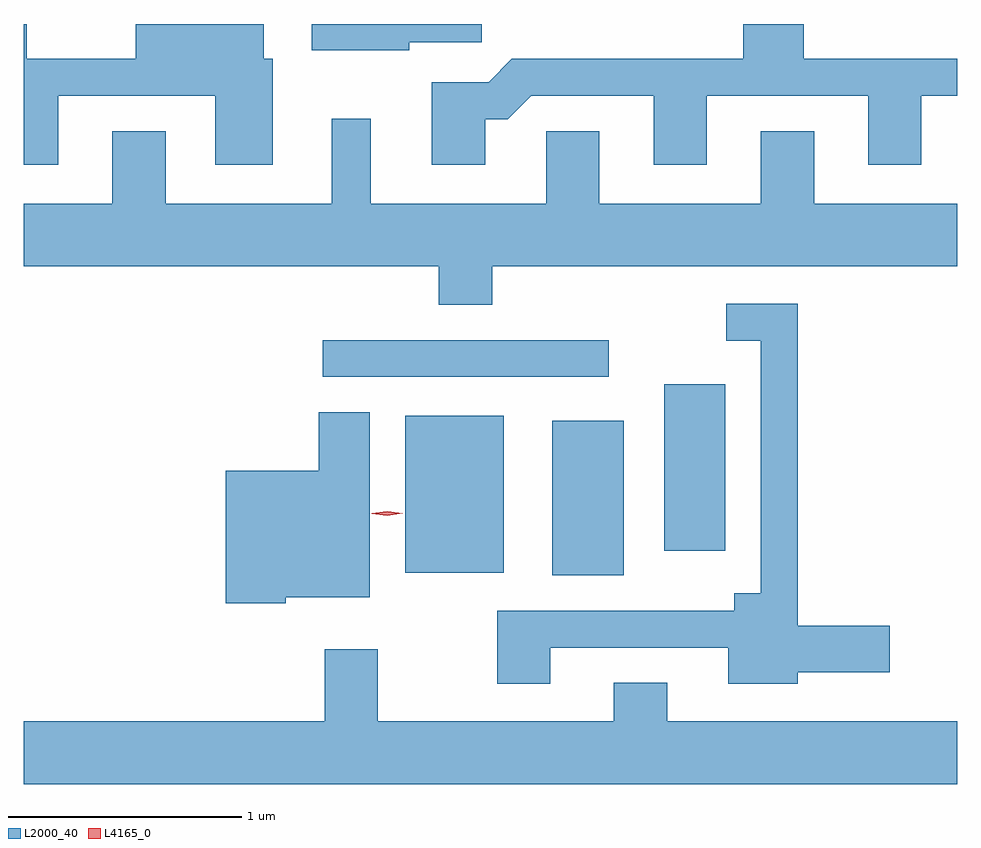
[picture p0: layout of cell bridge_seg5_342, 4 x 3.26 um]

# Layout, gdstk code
import gdstk
lib = gdstk.Library(unit=1e-6, precision=1e-09)
def R(c, l, rs):  # rectangles x0, y0, x1, y1
    for r in rs: c.add(gdstk.rectangle(r[:2], r[2:], *l))
def P(c, l, *ps):  # polygons
    for p in ps: c.add(gdstk.Polygon(p, *l))
L2000_40 = (2000, 40)
L4165_0 = (4165, 0)

bridge_seg5_342 = lib.new_cell('bridge_seg5_342')
R(bridge_seg5_342, L2000_40, [(819.766,1408.851,820.074,1409.514), (819.136,1408.861,819.559,1409.534), (820.246,1408.956,820.509,1409.669), (818.783,1409.701,820.008,1409.859)])
P(bridge_seg5_342, L2000_40, [(817.649,1410.906),(818.321,1410.906),(818.321,1410.611),(818.569,1410.611),(818.569,1411.064),(818.529,1411.064),(818.529,1411.214),(817.981,1411.214),(817.981,1411.064),(817.514,1411.064),(817.514,1411.214),(817.502,1411.214),(817.502,1410.611),(817.649,1410.611)],
  [(819.154,1411.136),(819.464,1411.136),(819.464,1411.214),(818.736,1411.214),(818.736,1411.101),(819.154,1411.101)],
  [(819.479,1410.806),(819.577,1410.806),(819.677,1410.906),(820.201,1410.906),(820.201,1410.611),(820.429,1410.611),(820.429,1410.906),(821.121,1410.906),(821.121,1410.611),(821.349,1410.611),(821.349,1410.906),(821.502,1410.906),(821.502,1411.064),(820.844,1411.064),(820.844,1411.214),(820.586,1411.214),(820.586,1411.064),(819.594,1411.064),(819.494,1410.964),(819.251,1410.964),(819.251,1410.611),(819.479,1410.611)],
  [(819.509,1410.176),(821.502,1410.176),(821.502,1410.444),(820.889,1410.444),(820.889,1410.754),(820.661,1410.754),(820.661,1410.444),(819.969,1410.444),(819.969,1410.754),(819.741,1410.754),(819.741,1410.444),(818.989,1410.444),(818.989,1410.808),(818.821,1410.808),(818.821,1410.444),(818.109,1410.444),(818.109,1410.754),(817.881,1410.754),(817.881,1410.444),(817.502,1410.444),(817.502,1410.176),(819.281,1410.176),(819.281,1410.011),(819.509,1410.011)],
  [(819.759,1408.541),(820.521,1408.541),(820.521,1408.386),(820.819,1408.386),(820.819,1408.436),(821.214,1408.436),(821.214,1408.634),(820.819,1408.634),(820.819,1410.014),(820.513,1410.014),(820.513,1409.856),(820.661,1409.856),(820.661,1408.774),(820.546,1408.774),(820.546,1408.699),(819.531,1408.699),(819.531,1408.386),(819.759,1408.386)],
  [(818.624,1408.756),(818.984,1408.756),(818.984,1409.549),(818.766,1409.549),(818.766,1409.299),(818.366,1409.299),(818.366,1408.731),(818.624,1408.731)],
  [(821.502,1408.224),(820.259,1408.224),(820.259,1408.389),(820.031,1408.389),(820.031,1408.224),(819.019,1408.224),(819.019,1408.534),(818.791,1408.534),(818.791,1408.224),(817.502,1408.224),(817.502,1407.956),(821.502,1407.956)])
P(bridge_seg5_342, L4165_0, [(819.06,1409.106),(818.994,1409.114),(818.994,1409.115),(818.994,1409.116),(819.06,1409.126),(819.126,1409.117),(819.126,1409.116),(819.126,1409.116)])

lib.write_gds('bridge_seg5_342.gds')
